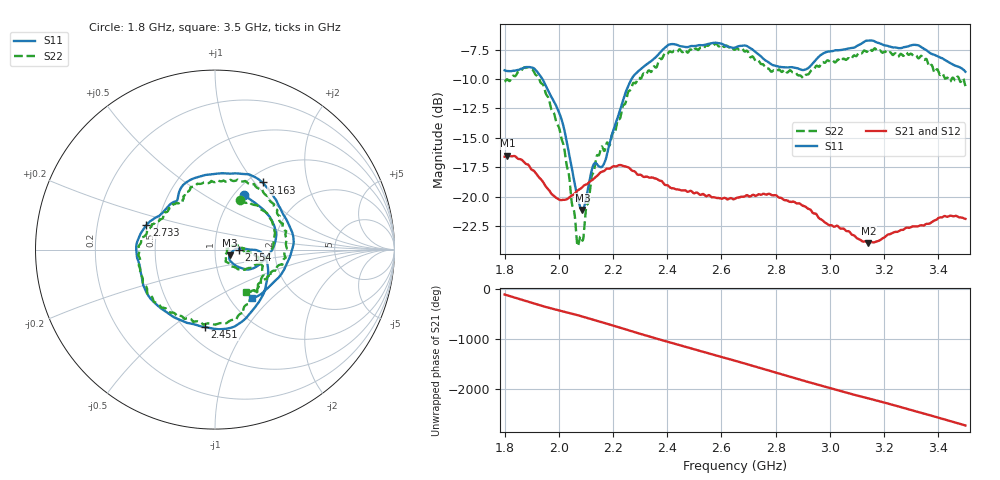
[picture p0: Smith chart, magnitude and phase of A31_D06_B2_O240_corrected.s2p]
! Created with skrf 1.9.0 (http://scikit-rf.org).
# Hz S RI R 50.0
!freq ReS11 ImS11 ReS21 ImS21 ReS12 ImS12 ReS22 ImS22
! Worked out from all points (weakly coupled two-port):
!   1601 points, 1.8 GHz to 3.5 GHz, reference 50 ohm
!   highest |S21| = -16.52 dB at 1.811 GHz (marker M1); lowest = -24.0 dB at 3.142 GHz (marker M2)
!   lowest |S11| = -21.1 dB at 2.087 GHz (marker M3), VSWR 1.19, Z = 58.8 - j3.72 ohm
!   |S11| at or under -10 dB: 1.939 GHz to 2.269 GHz (329.3 MHz wide, 15.7 % of centre)
!   |S22| runs from -24.2 to -7.0 dB; largest |S21 - S12| = 0.0025
!   S11 on the Smith chart (normalised r, x): 1.8 GHz: 1.11, +0.77; 2.154 GHz: 1.31, -0.01; 2.451 GHz: 0.62, -0.66; 2.733 GHz: 0.43, +0.14; 3.163 GHz: 1.16, +1.10; 3.5 GHz: 1.27, -0.77
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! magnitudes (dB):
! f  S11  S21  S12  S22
! 1.8 GHz  -9.3  -16.6  -16.6  -10.2
! 1.811 GHz  -9.3  -16.5  -16.5  -10.0
! 1.883 GHz  -9.0  -17.2  -17.3  -9.0
! 1.942 GHz  -10.1  -18.8  -18.8  -10.5
! 2.011 GHz  -13.5  -20.3  -20.3  -15.2
! 2.068 GHz  -19.9  -19.5  -19.5  -24.0
! 2.084 GHz  -21.1  -19.3  -19.2  -23.5
! 2.087 GHz  -21.1  -19.2  -19.2  -23.8
! 2.127 GHz  -17.3  -18.5  -18.5  -18.0
! 2.154 GHz  -17.5  -17.9  -18.0  -16.0
! 2.19 GHz  -15.3  -17.6  -17.6  -15.5
! 2.265 GHz  -10.1  -17.7  -17.7  -10.9
! 2.367 GHz  -7.9  -18.6  -18.5  -8.5
! 2.451 GHz  -7.2  -19.5  -19.5  -7.6
! 2.65 GHz  -7.3  -20.2  -20.2  -7.5
! 2.733 GHz  -7.8  -19.9  -19.9  -8.4
! 2.934 GHz  -8.8  -21.3  -21.3  -9.2
! 3.142 GHz  -6.7  -24.0  -23.8  -7.5
! 3.163 GHz  -6.8  -23.9  -23.9  -7.4
! 3.217 GHz  -7.2  -23.2  -23.2  -7.8
! 3.325 GHz  -7.1  -22.5  -22.5  -8.2
! 3.5 GHz  -9.4  -21.9  -21.9  -10.6
